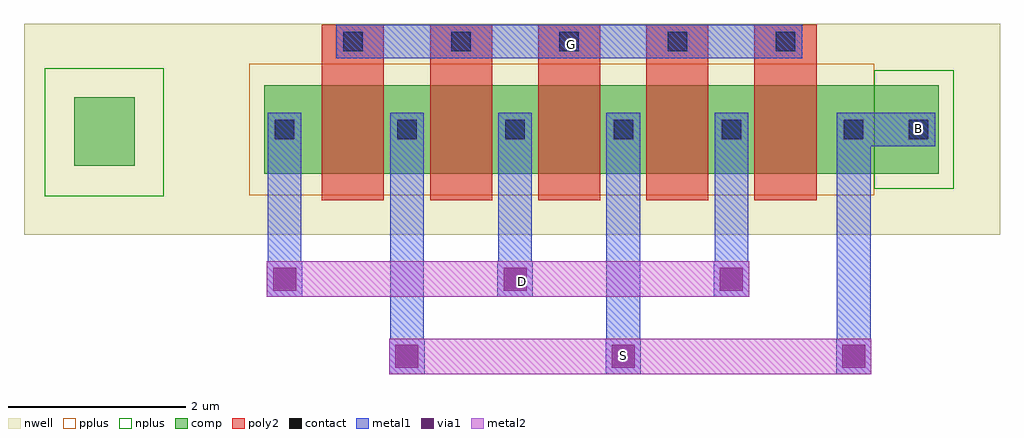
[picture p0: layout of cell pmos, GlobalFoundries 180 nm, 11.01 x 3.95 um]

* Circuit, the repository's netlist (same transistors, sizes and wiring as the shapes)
* Extracted by KLayout with GF180MCU LVS runset on : 27/12/2023 05:25

* cell pmos
* pin S
* pin D
* pin G
.SUBCKT pmos S D G
* device instance $1 r0 *1 0.35,0.5 pfet_03v3
M$1 S G D S pfet_03v3 L=0.7U W=5U AS=1.69P AD=1.69P PS=9.38U PD=9.38U
.ENDS pmos

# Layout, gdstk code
import gdstk
lib = gdstk.Library(unit=1e-6, precision=5e-09)
def R(c, l, rs):  # rectangles x0, y0, x1, y1
    for r in rs: c.add(gdstk.rectangle(r[:2], r[2:], *l))
def A(c, l, x, y, w, h, nx, ny, dx, dy):  # array of equal rectangles
    R(c, l, [(x+i*dx, y+j*dy, x+i*dx+w, y+j*dy+h) for i in range(nx) for j in range(ny)])
nwell = (21, 0)
comp = (22, 0)
poly2 = (30, 0)
pplus = (31, 0)
nplus = (32, 0)
contact = (33, 0)
metal1 = (34, 0)
via1 = (35, 0)
metal2 = (36, 0)

pfet_1 = lib.new_cell('pfet$1')
R(pfet_1, nwell, [(-1.15,-0.69,7.84,1.69)])
R(pfet_1, comp, [(-0.46,0,0,1), (0,0,5.96,1), (5.96,0,6.42,1), (6.42,0,7.15,1)])
A(pfet_1, poly2, 0.19, -0.3, 0.7, 1.6, 5, 1, 1.22, 0)
A(pfet_1, poly2, 0.19, 1.3, 0.7, 0.38, 5, 1, 1.22, 0)
R(pfet_1, pplus, [(-0.63,-0.24,6.42,1.24)])
R(pfet_1, nplus, [(6.42,-0.17,7.32,1.17)])
A(pfet_1, contact, 1.04, 0.39, 0.22, 0.22, 4, 1, 1.22, 0)
A(pfet_1, contact, 0.43, 1.38, 0.22, 0.22, 5, 1, 1.22, 0)
R(pfet_1, contact, [(-0.34,0.39,-0.12,0.61), (6.08,0.39,6.3,0.61), (6.81,0.39,7.03,0.61)])
A(pfet_1, metal1, 0.96, 0.31, 0.38, 0.38, 4, 1, 1.22, 0)
A(pfet_1, metal1, 0.35, 1.3, 0.38, 0.38, 5, 1, 1.22, 0)
R(pfet_1, metal1, [(-0.42,0.31,-0.04,0.69), (6,0.31,6.38,0.69), (6.73,0.31,7.11,0.69)])

via_dev_2 = lib.new_cell('via_dev$2')
R(via_dev_2, metal1, [(0,0,0.4,0.4)])
R(via_dev_2, via1, [(0.07,0.07,0.33,0.33)])
R(via_dev_2, metal2, [(0,0,0.4,0.4)])

pmos = lib.new_cell('pmos')
R(pmos, nwell, [(-3.36,-0.69,-1.34,1.69)])
R(pmos, comp, [(-2.795,0.09,-2.11,0.86)])
R(pmos, nplus, [(-3.125,-0.255,-1.785,1.19)])
R(pmos, metal1, [(0.77,-2.26,1.15,0.455), (3.21,-2.26,3.59,0.455), (5.81,-2.26,6.19,0.455), (-0.61,-1.39,-0.23,0.455), (1.99,-1.39,2.37,0.455), (4.43,-1.39,4.81,0.455), (5.97,0.31,6.755,0.69), (0.365,1.3,5.26,1.68)])
R(pmos, metal2, [(1.095,-2.26,6.1,-1.86), (-0.32,-1.39,4.42,-0.99)])
pmos.add(gdstk.Reference(pfet_1, (-0.19,0)))
pmos.add(gdstk.Reference(via_dev_2, (-0.62,-1.39)))
pmos.add(gdstk.Reference(via_dev_2, (0.76,-2.26)))
pmos.add(gdstk.Reference(via_dev_2, (1.98,-1.39)))
pmos.add(gdstk.Reference(via_dev_2, (4.42,-1.39)))
pmos.add(gdstk.Reference(via_dev_2, (3.2,-2.26)))
pmos.add(gdstk.Reference(via_dev_2, (5.8,-2.26)))
pmos.add(gdstk.Label('B', (6.73,0.505), layer=34, texttype=0))
pmos.add(gdstk.Label('S', (3.4,-2.05), layer=34, texttype=10))
pmos.add(gdstk.Label('D', (2.26,-1.215), layer=34, texttype=10))
pmos.add(gdstk.Label('G', (2.82,1.46), layer=34, texttype=10))

lib.write_gds('pmos.gds')
